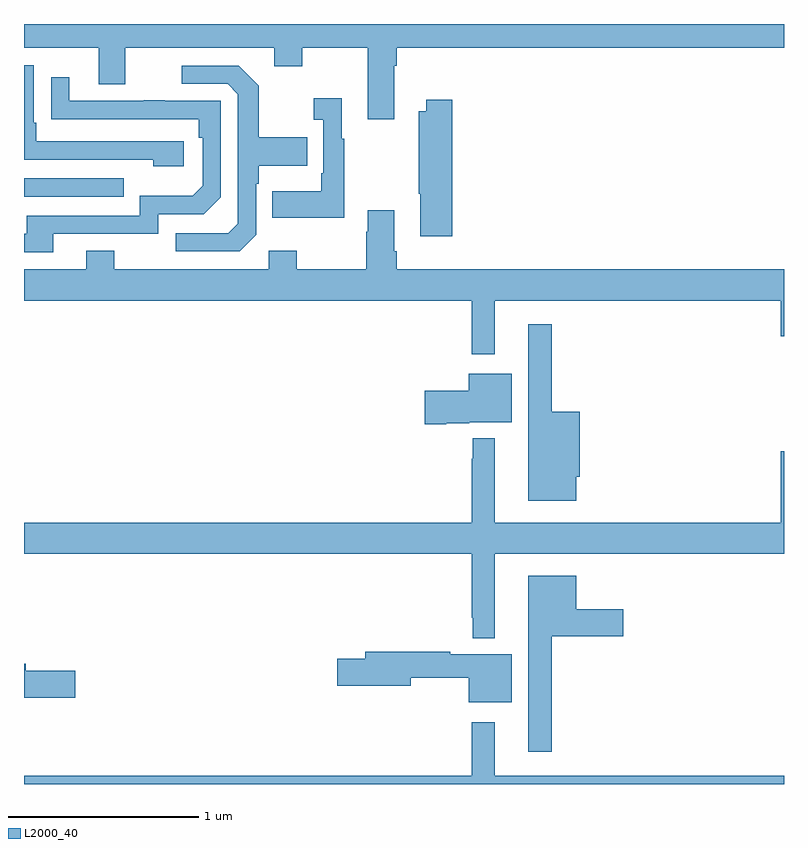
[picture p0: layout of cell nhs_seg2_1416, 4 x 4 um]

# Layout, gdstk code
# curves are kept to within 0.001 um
import gdstk
lib = gdstk.Library(unit=1e-6, precision=1e-09)
def R(c, l, rs):  # rectangles x0, y0, x1, y1
    for r in rs: c.add(gdstk.rectangle(r[:2], r[2:], *l))
def P(c, l, *ps):  # polygons
    for p in ps: c.add(gdstk.Polygon(p, *l))
L2000_40 = (2000, 40)

nhs_seg2_1416 = lib.new_cell('nhs_seg2_1416')
R(nhs_seg2_1416, L2000_40, [(185,606.891,185.525,606.987)])
P(nhs_seg2_1416, L2000_40, [(186.949,607.58),(186.962,607.58),(186.962,607.676),(189,607.676),(189,607.8),(185,607.8),(185,607.676),(185.393,607.676),(185.393,607.482),(185.533,607.482),(185.533,607.676),(186.317,607.676),(186.317,607.577),(186.465,607.577),(186.465,607.676),(186.809,607.676),(186.809,607.299),(186.949,607.299)],
  [(185.842,607.182),(185.065,607.182),(185.065,607.279),(185.052,607.279),(185.052,607.584),(185,607.584),(185,607.086),(185.681,607.086),(185.681,607.052),(185.842,607.052)],
  [(186.222,606.69),(186.222,606.959),(186.235,606.959),(186.235,607.055),(186.491,607.055),(186.491,607.203),(186.235,607.203),(186.235,607.475),(186.129,607.581),(185.829,607.581),(185.829,607.485),(186.072,607.485),(186.126,607.431),(186.126,606.75),(186.075,606.699),(185.799,606.699),(185.799,606.603),(186.135,606.603)],
  [(185.155,606.696),(185.706,606.696),(185.706,606.798),(185.946,606.798),(186.036,606.888),(186.036,607.395),(185.741,607.395),(185.741,607.4),(185.629,607.4),(185.629,607.395),(185.239,607.395),(185.239,607.519),(185.143,607.519),(185.143,607.3),(185.92,607.299),(185.92,607.202),(185.94,607.202),(185.94,606.948),(185.887,606.895),(185.61,606.895),(185.61,606.792),(185.015,606.792),(185.015,606.696),(185,606.696),(185,606.6),(185.155,606.6)],
  [(186.685,607.195),(186.673,607.195),(186.673,607.408),(186.525,607.408),(186.525,607.295),(186.576,607.295),(186.576,607.015),(186.564,607.015),(186.564,606.919),(186.307,606.919),(186.307,606.779),(186.685,606.779)],
  [(187.253,607.402),(187.118,607.402),(187.118,607.342),(187.078,607.342),(187.078,606.907),(187.085,606.907),(187.085,606.684),(187.253,606.684)],
  [(187.477,606.344),(188.984,606.344),(188.984,606.156),(189,606.156),(189,606.508),(186.962,606.508),(186.962,606.604),(186.949,606.604),(186.949,606.82),(186.809,606.82),(186.809,606.707),(186.802,606.707),(186.802,606.508),(186.435,606.508),(186.435,606.607),(186.288,606.607),(186.288,606.508),(185.475,606.508),(185.475,606.607),(185.327,606.607),(185.327,606.508),(185,606.508),(185,606.344),(187.356,606.344),(187.356,606.063),(187.477,606.063)],
  [(187.906,605.418),(187.924,605.418),(187.924,605.758),(187.777,605.758),(187.777,606.22),(187.655,606.22),(187.655,605.291),(187.906,605.291)],
  [(187.222,605.699),(187.344,605.699),(187.344,605.705),(187.567,605.705),(187.567,605.959),(187.34,605.959),(187.34,605.871),(187.11,605.871),(187.11,605.693),(187.222,605.693)],
  [(187.477,605.012),(189,605.012),(189,605.551),(188.984,605.551),(188.984,605.176),(187.477,605.176),(187.477,605.62),(187.363,605.62),(187.363,605.513),(187.356,605.513),(187.356,605.176),(185,605.176),(185,605.012),(187.356,605.012),(187.356,604.675),(187.362,604.675),(187.362,604.568),(187.477,604.568)],
  [(187.777,604.577),(188.155,604.577),(188.155,604.719),(187.906,604.719),(187.906,604.897),(187.655,604.897),(187.655,603.969),(187.777,603.969)],
  [(187.567,604.483),(187.244,604.483),(187.244,604.496),(186.797,604.496),(186.797,604.46),(186.648,604.46),(186.648,604.318),(187.036,604.318),(187.036,604.36),(187.34,604.36),(187.34,604.229),(187.567,604.229)],
  [(185.269,604.397),(185.008,604.397),(185.008,604.433),(185,604.433),(185,604.255),(185.269,604.255)],
  [(189,603.844),(187.477,603.844),(187.477,604.126),(187.356,604.126),(187.356,603.844),(185,603.844),(185,603.8),(189,603.8)])

lib.write_gds('nhs_seg2_1416.gds')
